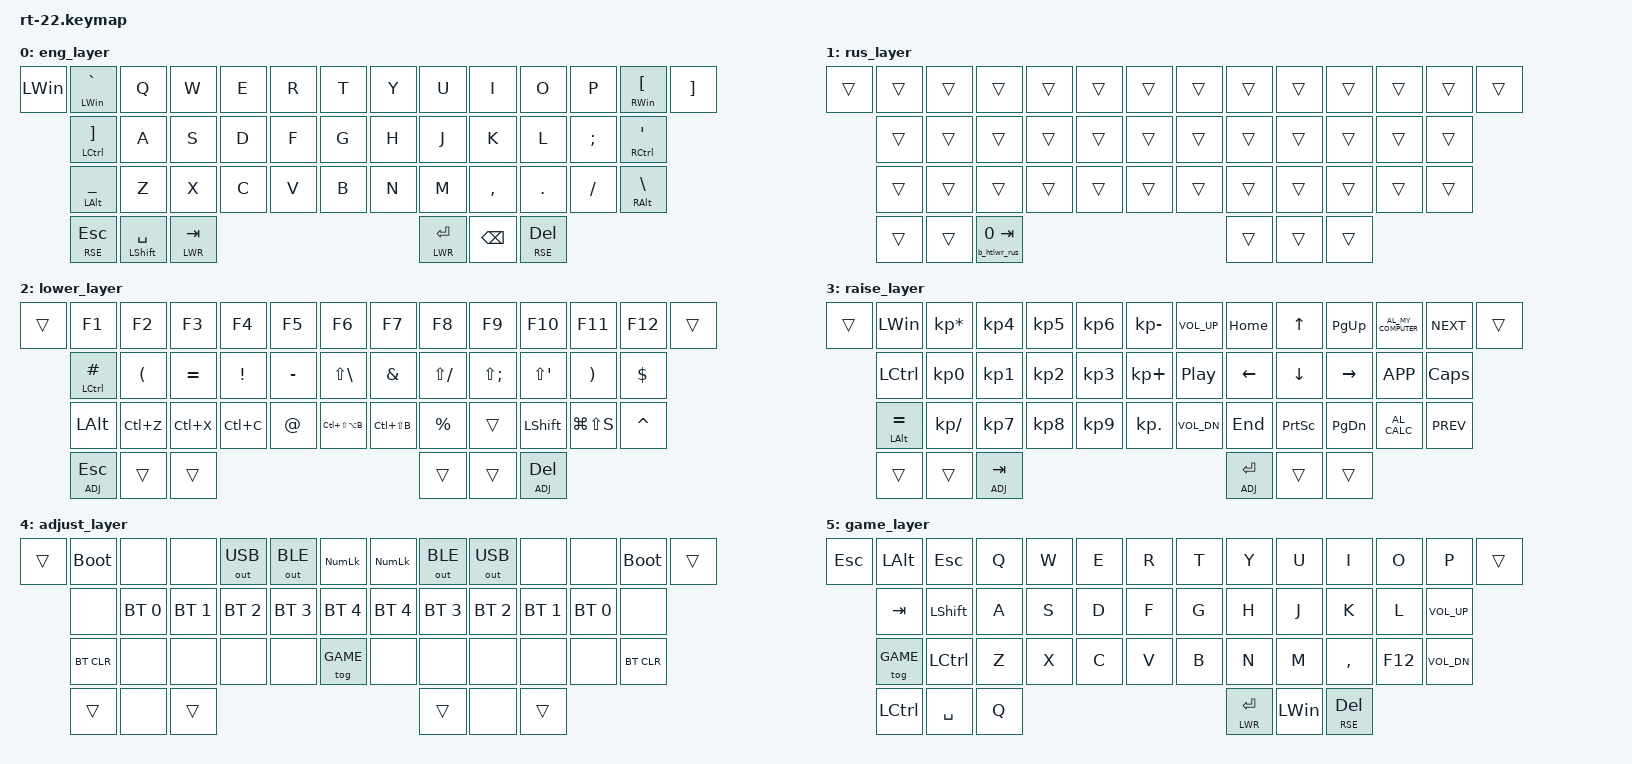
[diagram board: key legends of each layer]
/*
 * Copyright (c) 2021 The ZMK Contributors
 *
 * SPDX-License-Identifier: MIT
 */

#include "custom-behaviors.dtsi"
#include "custom-macros.dtsi"
#include <dt-bindings/zmk/keys.h>
#include <dt-bindings/zmk/bt.h>
#include <dt-bindings/zmk/outputs.h>

#define ENG 0
#define RUS 1
#define LWR 2
#define RSE 3
#define ADJ 4
#define GAME 5

&lt { quick_tap_ms = <200>; };
&mt { quick_tap_ms = <200>; };

/ { 
        behaviors {
                HOLD_COMBO_BEHAVIOR(htlwr_rus, <&m_lwr_rus>) // macro_lwr_rus on hold and kp on tap
                htb: hold-tap-balanced {
                        compatible = "zmk,behavior-hold-tap";
                        label = "HOLD_TAP_BALANCED";
                        #binding-cells = <2>;
                        tapping-term-ms = <200>;
                        quick-tap-ms = <0>;
                        flavor = "balanced";
                        bindings = <&kp>, <&kp>;
                    };
        };
        macros {
                SWITCH_LANG_AND_MO_LAYER_MACRO(lwr_rus, LWR, ENG_NUM, SECOND_NUM)
                SWITCH_LANG_AND_TO_LAYER_MACRO(tom_rus, RUS, SECOND_NUM)
                SWITCH_LANG_AND_TO_LAYER_MACRO(tom_eng, ENG, ENG_NUM)
                SWITCH_LANG_AND_KP_MACRO(kp_number, HASH, SECOND_NUM, ENG_NUM)
        };
        combos {
                compatible = "zmk,combos";
                combo_eng_rus {
                        timeout-ms = <COMBO_TIMEOUT>;
                        key-positions = <26 39>;
                        layers = <ENG>, <RUS>;
                        bindings = <&m_tom_rus>;
                    };
                combo_rus_eng {
                        timeout-ms = <COMBO_TIMEOUT>;
                        // key-positions = <31 39>; // left half test positions
                        key-positions = <37 42>; // right half
                        layers = <ENG>, <RUS>;
                        bindings = <&m_tom_eng>;
                    };
        };
        keymap {
                compatible = "zmk,keymap";

                eng_layer {
// -----------------------------------------------------------------------------------------
// |   ~  |  Q  |  W  |  E  |  R  |  T  |   |  Y  |  U   |  I  |  O  |  P  |  [   |
// | CTRL |  A  |  S  |  D  |  F  |  G  |   |  H  |  J   |  K  |  L  |  ;  |  '   |
// | LALT |  Z  |  X  |  C  |  V  |  B  |   |  N  |  M   |  ,  |  .  |  /  |  \   |
//                    | ESC | SPC | TAB |   | ENT | BSPC | DEL |
                        bindings = <
    &kp LWIN &htb LWIN GRAVE  &kp Q &kp W &kp E &kp R &kp T         &kp Y &kp U  &kp I     &kp O   &kp P    &htb RWIN LBKT &kp RBKT
             &mt  LCTRL RBKT  &kp A &kp S &kp D &kp F &kp G         &kp H &kp J  &kp K     &kp L   &kp SEMI &htb RCTRL SQT
             &mt  LALT UNDER  &kp Z &kp X &kp C &kp V &kp B         &kp N &kp M  &kp COMMA &kp DOT &kp FSLH &mt  RALT BSLH
                    &lt RSE ESC &mt LSHFT SPACE &lt LWR TAB         &lt LWR RET &kp BSPC &lt RSE DEL
                        >;
                };
                rus_layer {
// -----------------------------------------------------------------------------------------
// |   ~  |  Q  |  W  |  E  |  R  |  T  |   |  Y  |  U   |  I  |  O  |  P  |  [   |
// | CTRL |  A  |  S  |  D  |  F  |  G  |   |  H  |  J   |  K  |  L  |  ;  |  '   |
// | LALT |  Z  |  X  |  C  |  V  |  B  |   |  N  |  M   |  ,  |  .  |  /  | \ |
//                    | ESC | SPC | TAB |   | ENT | BSPC | DEL |
                        bindings = <
    &trans &trans &trans &trans &trans &trans &trans         &trans &trans &trans &trans &trans &trans &trans
           &trans &trans &trans &trans &trans &trans         &trans &trans &trans &trans &trans &trans
           &trans &trans &trans &trans &trans &trans         &trans &trans &trans &trans &trans &trans
                    &trans &trans &b_htlwr_rus 0 TAB         &trans &trans &trans
                        >;
                };
                lower_layer {
// -----------------------------------------------------------------------------------------
// |  F1 |  F2 |  F3 |  F4 |  F5 |   |  F6 |  F7 |  F8 |  F9 | F10  | F11 | F12 |
// |  #  |  (  |  =  |  !  |  -  |  |  |   |  &  |  ?  |  :  |  "  |  )   |  $  |
// |  +  |     |     |     |  @  |  RD |   |  RD |     |     |SHIFT|SCREEN|  ^  |
//                   | ESC | SPC | TAB |   | ENT | BSPC | DEL |
                       bindings = <
   &trans &kp F1         &kp F2    &kp F3    &kp F4      &kp F5    &kp F6               &kp F7        &kp F8       &kp F9       &kp F10      &kp F11       &kp F12   &trans 
          &mt LCTRL HASH &kp LPAR  &kp EQUAL &kp EXCL    &kp MINUS &kp LS(BSLH)         &kp AMPS      &kp LS(FSLH) &kp LS(SEMI) &kp LS(SQT)  &kp RPAR      &kp DLLR
          &kp LALT       &kp LC(Z) &kp LC(X) &kp LC(C)   &kp AT    &kp LC(LS(LA(B)))    &kp LC(LS(B)) &kp PRCNT    &trans       &kp LSHFT    &kp LG(LS(S)) &kp CARET
                                             &lt ADJ ESC &trans    &trans               &trans        &trans       &lt ADJ DEL
                       >;
                };
                raise_layer {
// -----------------------------------------------------------------------------------------
// | NMLK |  *  |  4  |  5  |  6  |  -  |   | VOLU| HOME| UP  | PGUP |MYCOMP| NEXT |     |
// |   =  |  0  |  1  |  2  |  3  |  +  |   |PAUSE| LEFT| DOWN| RGHT | APP  | CAPS |
// |      |  /  |  7  |  8  |  9  |  .  |   | VOLD| END | PRSC| PGDN | CALC | PREV |
//                    |     |     | ADJ |   | ADJ |     |     |
                        bindings = <       
   &trans &kp LWIN       &kp KP_MULTIPLY &kp KP_N4 &kp KP_N5 &kp KP_N6 &kp KP_MINUS        &kp C_VOL_UP &kp HOME &kp UP    &kp PG_UP &kp C_AL_MY_COMPUTER &kp C_NEXT &trans
          &kp LCTRL      &kp KP_N0       &kp KP_N1 &kp KP_N2 &kp KP_N3 &kp KP_PLUS         &kp C_PP     &kp LEFT &kp DOWN  &kp RIGHT &kp K_APP            &kp CAPS
          &mt LALT EQUAL &kp KP_SLASH    &kp KP_N7 &kp KP_N8 &kp KP_N9 &kp KP_DOT          &kp C_VOL_DN &kp END  &kp PSCRN &kp PG_DN &kp C_AL_CALC        &kp C_PREV
                                                    &trans    &trans    &lt ADJ TAB         &lt ADJ RET  &trans   &trans
                        >;
                };
                adjust_layer {
// -----------------------------------------------------------------------------------------
// | BLDR |     |     | USB | BLE |     |   |     | BLE | USB |     |     | BLDR |
// |      | BT0 | BT1 | BT2 | BT3 | BT4 |   | BT4 | BT3 | BT2 | BT1 | BT0 |      |
// | BTCLR|     |     |     |     |     |   |     |     |     |     |     | BTCLR|
//                    |     |     |     |   |     |     |     |
                        bindings = <              
   &trans &bootloader  &none        &none        &out OUT_USB &out OUT_BLE &kp KP_NUM         &kp KP_NUM   &out OUT_BLE &out OUT_USB &none        &none         &bootloader &trans
          &none        &bt BT_SEL 0 &bt BT_SEL 1 &bt BT_SEL 2 &bt BT_SEL 3 &bt BT_SEL 4       &bt BT_SEL 4 &bt BT_SEL 3 &bt BT_SEL 2 &bt BT_SEL 1 &bt BT_SEL 0  &none
          &bt BT_CLR   &none        &none        &none        &none        &tog GAME          &none        &none        &none        &none        &none         &bt BT_CLR
                                                 &trans       &none        &trans             &trans       &none        &trans
                        >;
                };
                game_layer {

                        bindings = <
   &kp ESC &kp LALT  &kp ESC   &kp Q &kp W &kp E &kp R         &kp T &kp Y &kp U  &kp I     &kp O   &kp P         &trans
           &kp TAB   &kp LSHFT &kp A &kp S &kp D &kp F         &kp G &kp H &kp J  &kp K     &kp L   &kp C_VOL_UP
           &tog GAME &kp LCTRL &kp Z &kp X &kp C &kp V         &kp B &kp N &kp M  &kp COMMA &kp F12 &kp C_VOL_DN
                             &kp LCTRL &kp SPACE &kp Q         &lt LWR RET &kp LWIN &lt RSE DEL
                        >;
                };
        };
};
